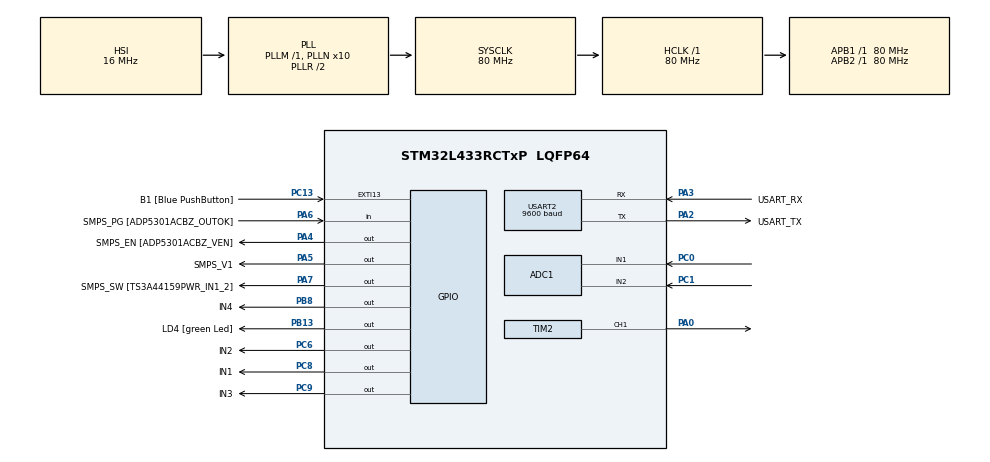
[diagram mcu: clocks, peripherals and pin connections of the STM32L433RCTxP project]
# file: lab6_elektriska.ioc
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ADC1.Channel-0\#ChannelRegularConversion=ADC_CHANNEL_1
ADC1.Channel-1\#ChannelRegularConversion=ADC_CHANNEL_2
ADC1.DiscontinuousConvMode=ENABLE
ADC1.NbrOfConversion=2
ADC1.NbrOfConversionFlag=1
ADC1.OffsetNumber-0\#ChannelRegularConversion=ADC_OFFSET_NONE
ADC1.OffsetNumber-1\#ChannelRegularConversion=ADC_OFFSET_NONE
ADC1.Overrun=ADC_OVR_DATA_OVERWRITTEN
ADC1.Rank-0\#ChannelRegularConversion=1
ADC1.Rank-1\#ChannelRegularConversion=2
ADC1.SamplingTime-0\#ChannelRegularConversion=ADC_SAMPLETIME_2CYCLES_5
ADC1.SamplingTime-1\#ChannelRegularConversion=ADC_SAMPLETIME_2CYCLES_5
ADC1.master=1
Mcu.Family=STM32L4
Mcu.Name=STM32L433RCTxP
Mcu.Package=LQFP64
NVIC.PriorityGroup=NVIC_PRIORITYGROUP_4
PA0.Signal=S_TIM2_CH1
PA13\ (JTMS-SWDIO).GPIO_Label=TMS
PA13\ (JTMS-SWDIO).Mode=Serial_Wire
PA13\ (JTMS-SWDIO).Signal=SYS_JTMS-SWDIO
PA14\ (JTCK-SWCLK).GPIO_Label=TCK
PA14\ (JTCK-SWCLK).Mode=Serial_Wire
PA14\ (JTCK-SWCLK).Signal=SYS_JTCK-SWCLK
PA2.GPIO_Label=USART_TX
PA2.GPIO_Mode=GPIO_MODE_AF_PP
PA2.GPIO_PuPd=GPIO_NOPULL
PA2.GPIO_Speed=GPIO_SPEED_FREQ_VERY_HIGH
PA2.Mode=Asynchronous
PA2.Signal=USART2_TX
PA3.GPIO_Label=USART_RX
PA3.GPIO_Mode=GPIO_MODE_AF_PP
PA3.GPIO_PuPd=GPIO_NOPULL
PA3.GPIO_Speed=GPIO_SPEED_FREQ_VERY_HIGH
PA3.Mode=Asynchronous
PA3.Signal=USART2_RX
PA4.GPIO_Label=SMPS_EN [ADP5301ACBZ_VEN]
PA4.Signal=GPIO_Output
PA5.GPIO_Label=SMPS_V1
PA5.GPIO_ModeDefaultOutputPP=GPIO_MODE_OUTPUT_PP
PA5.GPIO_PuPd=GPIO_NOPULL
PA5.GPIO_Speed=GPIO_SPEED_FREQ_LOW
PA5.Signal=GPIO_Output
PA6.GPIO_Label=SMPS_PG [ADP5301ACBZ_OUTOK]
PA6.GPIO_PuPd=GPIO_PULLUP
PA6.Signal=GPIO_Input
PA7.GPIO_Label=SMPS_SW [TS3A44159PWR_IN1_2]
PA7.Signal=GPIO_Output
PB13.GPIO_Label=LD4 [green Led]
PB13.Signal=GPIO_Output
PB3\ (JTDO-TRACESWO).GPIO_Label=SWO
PB3\ (JTDO-TRACESWO).Signal=SYS_JTDO-SWO
PB8.GPIO_Label=IN4
PB8.Signal=GPIO_Output
PC0.Signal=ADCx_IN1
PC1.Signal=ADCx_IN2
PC13.GPIO_Label=B1 [Blue PushButton]
PC13.GPIO_ModeDefaultEXTI=GPIO_MODE_IT_FALLING
PC13.GPIO_PuPd=GPIO_NOPULL
PC13.Signal=GPXTI13
PC14-OSC32_IN\ (PC14).Mode=LSE-External-Oscillator
PC14-OSC32_IN\ (PC14).Signal=RCC_OSC32_IN
PC15-OSC32_OUT\ (PC15).Mode=LSE-External-Oscillator
PC15-OSC32_OUT\ (PC15).Signal=RCC_OSC32_OUT
PC6.GPIO_Label=IN2
PC6.Signal=GPIO_Output
PC8.GPIO_Label=IN1
PC8.Signal=GPIO_Output
PC9.GPIO_Label=IN3
PC9.Signal=GPIO_Output
PH0-OSC_IN\ (PH0).GPIO_Label=MCO
PH0-OSC_IN\ (PH0).Mode=HSE-External-Clock-Source
PH0-OSC_IN\ (PH0).Signal=RCC_OSC_IN
PH1-OSC_OUT\ (PH1).Signal=RCC_OSC_OUT
ProjectManager.HeapSize=0x200
ProjectManager.StackSize=0x400
ProjectManager.TargetToolchain=STM32CubeIDE
RCC.ADCFreq_Value=64000000
RCC.AHBFreq_Value=80000000
RCC.APB1Freq_Value=80000000
RCC.APB1TimFreq_Value=80000000
RCC.APB2Freq_Value=80000000
RCC.APB2TimFreq_Value=80000000
RCC.CortexFreq_Value=80000000
RCC.HCLKFreq_Value=80000000
RCC.HSE_VALUE=8000000
RCC.HSI48_VALUE=48000000
RCC.HSI_VALUE=16000000
RCC.MSI_VALUE=4000000
RCC.PLLN=10
RCC.PLLSourceVirtual=RCC_PLLSOURCE_HSI
RCC.PREFETCH_ENABLE=1
RCC.SYSCLKFreq_VALUE=80000000
RCC.SYSCLKSource=RCC_SYSCLKSOURCE_PLLCLK
RCC.USBFreq_Value=64000000
RCC.VCOOutputFreq_Value=160000000
SH.ADCx_IN1.0=ADC1_IN1,IN1-Single-Ended
SH.ADCx_IN2.0=ADC1_IN2,IN2-Single-Ended
SH.S_TIM2_CH1.0=TIM2_CH1,PWM Generation1 CH1
TIM2.Channel-PWM\ Generation1\ CH1=TIM_CHANNEL_1
TIM2.Period=19999
TIM2.Prescaler=79
USART2.BaudRate=9600
USART2.VirtualMode-Asynchronous=VM_ASYNC
VP_TIM2_VS_ClockSourceINT.Mode=Internal
board=NUCLEO-L433RC-P

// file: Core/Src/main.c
/* USER CODE BEGIN Header */
/**
 ******************************************************************************
 * @file           : main.c
 * @brief          : Main program body
 ******************************************************************************
 * @attention
 *
 * Copyright (c) 2026 STMicroelectronics.
 * All rights reserved.
 *
 * This software is licensed under terms that can be found in the LICENSE file
 * in the root directory of this software component.
 * If no LICENSE file comes with this software, it is provided AS-IS.
 *
 ******************************************************************************
 */
/* USER CODE END Header */
#include "main.h"

/* USER CODE BEGIN Includes */
#include <string.h>
#include <stdio.h>
/* USER CODE END Includes */

ADC_HandleTypeDef hadc1;

TIM_HandleTypeDef htim2;

UART_HandleTypeDef huart2;

void SystemClock_Config(void);
static void MX_GPIO_Init(void);
static void MX_USART2_UART_Init(void);
static void MX_ADC1_Init(void);
static void MX_TIM2_Init(void);

/* USER CODE BEGIN 0 */
int8_t step_index = 0;

const uint8_t step_seq[8][4] = {
		{1, 0, 0, 0}, // Steg 1
		{1, 1, 0, 0}, // Steg 2
		{0, 1, 0, 0}, // Steg 3
		{0, 1, 1, 0}, // Steg 4
		{0, 0, 1, 0}, // Steg 5
		{0, 0, 1, 1}, // Steg 6
		{0, 0, 0, 1}, // Steg 7
		{1, 0, 0, 1}  // Steg 8
};

void StepperMove(int8_t direction) {
	if (direction > 0) {
		step_index++;
		if (step_index > 7) step_index = 0; // Börja om
	} else if (direction < 0) {
		step_index--;
		if (step_index < 0) step_index = 7; // Gå baklänges
	}

	// Sätt pinnarna
	HAL_GPIO_WritePin(IN1_GPIO_Port, IN1_Pin, step_seq[step_index][0]);
	HAL_GPIO_WritePin(IN2_GPIO_Port, IN2_Pin, step_seq[step_index][1]);
	HAL_GPIO_WritePin(IN3_GPIO_Port, IN3_Pin, step_seq[step_index][2]);
	HAL_GPIO_WritePin(IN4_GPIO_Port, IN4_Pin, step_seq[step_index][3]);
}
/* USER CODE END 0 */

int main(void)
{

	/* MCU Configuration--------------------------------------------------------*/

	/* Reset of all peripherals, Initializes the Flash interface and the Systick. */
	HAL_Init();

	/* Configure the system clock */
	SystemClock_Config();

	/* Initialize all configured peripherals */
	MX_GPIO_Init();
	MX_USART2_UART_Init();
	MX_ADC1_Init();
	MX_TIM2_Init();
	/* USER CODE BEGIN 2 */
	HAL_TIM_PWM_Start(&htim2, TIM_CHANNEL_1);

	uint32_t adc_x = 0;
	uint32_t adc_y = 0;
	char uart_buf[64];
	int print_counter = 0;
	/* USER CODE END 2 */

	/* Infinite loop */
	/* USER CODE BEGIN WHILE */
	while (1)
	{
		HAL_ADC_Start(&hadc1);
		/* USER CODE END WHILE */

		/* USER CODE BEGIN 3 */

		if (HAL_ADC_PollForConversion(&hadc1, HAL_MAX_DELAY) == HAL_OK) {
			adc_x = HAL_ADC_GetValue(&hadc1);
		}

		HAL_ADC_Start(&hadc1);
		if (HAL_ADC_PollForConversion(&hadc1, HAL_MAX_DELAY) == HAL_OK) {
			adc_y = HAL_ADC_GetValue(&hadc1);
		}
		HAL_ADC_Stop(&hadc1);

		uint32_t pwm_val = 500 + (adc_y * 2000) / 4095;
		__HAL_TIM_SET_COMPARE(&htim2, TIM_CHANNEL_1, pwm_val);

		if (adc_x > 2500) {
			StepperMove(1); // Rotera höger
		} else if (adc_x < 1500) {
			StepperMove(-1); // Rotera vänster
		} else {
			// Stäng av strömmen
			HAL_GPIO_WritePin(IN1_GPIO_Port, IN1_Pin, 0);
			HAL_GPIO_WritePin(IN2_GPIO_Port, IN2_Pin, 0);
			HAL_GPIO_WritePin(IN3_GPIO_Port, IN3_Pin, 0);
			HAL_GPIO_WritePin(IN4_GPIO_Port, IN4_Pin, 0);
		}

		print_counter++;
		if (print_counter >= 50) {
			sprintf(uart_buf, "Joy X: %lu | Joy Y: %lu | Servo PWM: %lu\r\n", adc_y, adc_x, pwm_val);
			HAL_UART_Transmit(&huart2, (uint8_t*)uart_buf, strlen(uart_buf), HAL_MAX_DELAY);
			print_counter = 0;
		}
		HAL_Delay(2);
	}
	/* USER CODE END 3 */
}

void SystemClock_Config(void)
{
	RCC_OscInitTypeDef RCC_OscInitStruct = {0};
	RCC_ClkInitTypeDef RCC_ClkInitStruct = {0};

	/** Configure the main internal regulator output voltage
	 */
	if (HAL_PWREx_ControlVoltageScaling(PWR_REGULATOR_VOLTAGE_SCALE1) != HAL_OK)
	{
		Error_Handler();
	}

	/** Initializes the RCC Oscillators according to the specified parameters
	 * in the RCC_OscInitTypeDef structure.
	 */
	RCC_OscInitStruct.OscillatorType = RCC_OSCILLATORTYPE_HSI;
	RCC_OscInitStruct.HSIState = RCC_HSI_ON;
	RCC_OscInitStruct.HSICalibrationValue = RCC_HSICALIBRATION_DEFAULT;
	RCC_OscInitStruct.PLL.PLLState = RCC_PLL_ON;
	RCC_OscInitStruct.PLL.PLLSource = RCC_PLLSOURCE_HSI;
	RCC_OscInitStruct.PLL.PLLM = 1;
	RCC_OscInitStruct.PLL.PLLN = 10;
	RCC_OscInitStruct.PLL.PLLP = RCC_PLLP_DIV7;
	RCC_OscInitStruct.PLL.PLLQ = RCC_PLLQ_DIV2;
	RCC_OscInitStruct.PLL.PLLR = RCC_PLLR_DIV2;
	if (HAL_RCC_OscConfig(&RCC_OscInitStruct) != HAL_OK)
	{
		Error_Handler();
	}

	/** Initializes the CPU, AHB and APB buses clocks
	 */
	RCC_ClkInitStruct.ClockType = RCC_CLOCKTYPE_HCLK|RCC_CLOCKTYPE_SYSCLK
			|RCC_CLOCKTYPE_PCLK1|RCC_CLOCKTYPE_PCLK2;
	RCC_ClkInitStruct.SYSCLKSource = RCC_SYSCLKSOURCE_PLLCLK;
	RCC_ClkInitStruct.AHBCLKDivider = RCC_SYSCLK_DIV1;
	RCC_ClkInitStruct.APB1CLKDivider = RCC_HCLK_DIV1;
	RCC_ClkInitStruct.APB2CLKDivider = RCC_HCLK_DIV1;

	if (HAL_RCC_ClockConfig(&RCC_ClkInitStruct, FLASH_LATENCY_4) != HAL_OK)
	{
		Error_Handler();
	}
}

static void MX_ADC1_Init(void)
{

	ADC_ChannelConfTypeDef sConfig = {0};

	/** Common config
	 */
	hadc1.Instance = ADC1;
	hadc1.Init.ClockPrescaler = ADC_CLOCK_ASYNC_DIV1;
	hadc1.Init.Resolution = ADC_RESOLUTION_12B;
	hadc1.Init.DataAlign = ADC_DATAALIGN_RIGHT;
	hadc1.Init.ScanConvMode = ADC_SCAN_ENABLE;
	hadc1.Init.EOCSelection = ADC_EOC_SINGLE_CONV;
	hadc1.Init.LowPowerAutoWait = DISABLE;
	hadc1.Init.ContinuousConvMode = DISABLE;
	hadc1.Init.NbrOfConversion = 2;
	hadc1.Init.DiscontinuousConvMode = ENABLE;
	hadc1.Init.NbrOfDiscConversion = 1;
	hadc1.Init.ExternalTrigConv = ADC_SOFTWARE_START;
	hadc1.Init.ExternalTrigConvEdge = ADC_EXTERNALTRIGCONVEDGE_NONE;
	hadc1.Init.DMAContinuousRequests = DISABLE;
	hadc1.Init.Overrun = ADC_OVR_DATA_OVERWRITTEN;
	hadc1.Init.OversamplingMode = DISABLE;
	if (HAL_ADC_Init(&hadc1) != HAL_OK)
	{
		Error_Handler();
	}

	/** Configure Regular Channel
	 */
	sConfig.Channel = ADC_CHANNEL_1;
	sConfig.Rank = ADC_REGULAR_RANK_1;
	sConfig.SamplingTime = ADC_SAMPLETIME_2CYCLES_5;
	sConfig.SingleDiff = ADC_SINGLE_ENDED;
	sConfig.OffsetNumber = ADC_OFFSET_NONE;
	sConfig.Offset = 0;
	if (HAL_ADC_ConfigChannel(&hadc1, &sConfig) != HAL_OK)
	{
		Error_Handler();
	}

	/** Configure Regular Channel
	 */
	sConfig.Channel = ADC_CHANNEL_2;
	sConfig.Rank = ADC_REGULAR_RANK_2;
	if (HAL_ADC_ConfigChannel(&hadc1, &sConfig) != HAL_OK)
	{
		Error_Handler();
	}

}

static void MX_TIM2_Init(void)
{

	TIM_ClockConfigTypeDef sClockSourceConfig = {0};
	TIM_MasterConfigTypeDef sMasterConfig = {0};
	TIM_OC_InitTypeDef sConfigOC = {0};

	htim2.Instance = TIM2;
	htim2.Init.Prescaler = 79;
	htim2.Init.CounterMode = TIM_COUNTERMODE_UP;
	htim2.Init.Period = 19999;
	htim2.Init.ClockDivision = TIM_CLOCKDIVISION_DIV1;
	htim2.Init.AutoReloadPreload = TIM_AUTORELOAD_PRELOAD_DISABLE;
	if (HAL_TIM_Base_Init(&htim2) != HAL_OK)
	{
		Error_Handler();
	}
	sClockSourceConfig.ClockSource = TIM_CLOCKSOURCE_INTERNAL;
	if (HAL_TIM_ConfigClockSource(&htim2, &sClockSourceConfig) != HAL_OK)
	{
		Error_Handler();
	}
	if (HAL_TIM_PWM_Init(&htim2) != HAL_OK)
	{
		Error_Handler();
	}
	sMasterConfig.MasterOutputTrigger = TIM_TRGO_RESET;
	sMasterConfig.MasterSlaveMode = TIM_MASTERSLAVEMODE_DISABLE;
	if (HAL_TIMEx_MasterConfigSynchronization(&htim2, &sMasterConfig) != HAL_OK)
	{
		Error_Handler();
	}
	sConfigOC.OCMode = TIM_OCMODE_PWM1;
	sConfigOC.Pulse = 0;
	sConfigOC.OCPolarity = TIM_OCPOLARITY_HIGH;
	sConfigOC.OCFastMode = TIM_OCFAST_DISABLE;
	if (HAL_TIM_PWM_ConfigChannel(&htim2, &sConfigOC, TIM_CHANNEL_1) != HAL_OK)
	{
		Error_Handler();
	}
	HAL_TIM_MspPostInit(&htim2);

}

static void MX_USART2_UART_Init(void)
{

	huart2.Instance = USART2;
	huart2.Init.BaudRate = 9600;
	huart2.Init.WordLength = UART_WORDLENGTH_8B;
	huart2.Init.StopBits = UART_STOPBITS_1;
	huart2.Init.Parity = UART_PARITY_NONE;
	huart2.Init.Mode = UART_MODE_TX_RX;
	huart2.Init.HwFlowCtl = UART_HWCONTROL_NONE;
	huart2.Init.OverSampling = UART_OVERSAMPLING_16;
	huart2.Init.OneBitSampling = UART_ONE_BIT_SAMPLE_DISABLE;
	huart2.AdvancedInit.AdvFeatureInit = UART_ADVFEATURE_NO_INIT;
	if (HAL_UART_Init(&huart2) != HAL_OK)
	{
		Error_Handler();
	}

}

static void MX_GPIO_Init(void)
{
	GPIO_InitTypeDef GPIO_InitStruct = {0};

	/* GPIO Ports Clock Enable */
	__HAL_RCC_GPIOC_CLK_ENABLE();
	__HAL_RCC_GPIOH_CLK_ENABLE();
	__HAL_RCC_GPIOA_CLK_ENABLE();
	__HAL_RCC_GPIOB_CLK_ENABLE();

	/*Configure GPIO pin Output Level */
	HAL_GPIO_WritePin(GPIOA, SMPS_EN_Pin|SMPS_V1_Pin|SMPS_SW_Pin, GPIO_PIN_RESET);

	/*Configure GPIO pin Output Level */
	HAL_GPIO_WritePin(GPIOB, LD4_Pin|IN4_Pin, GPIO_PIN_RESET);

	/*Configure GPIO pin Output Level */
	HAL_GPIO_WritePin(GPIOC, IN2_Pin|IN1_Pin|IN3_Pin, GPIO_PIN_RESET);

	/*Configure GPIO pin : B1_Pin */
	GPIO_InitStruct.Pin = B1_Pin;
	GPIO_InitStruct.Mode = GPIO_MODE_IT_FALLING;
	GPIO_InitStruct.Pull = GPIO_NOPULL;
	HAL_GPIO_Init(B1_GPIO_Port, &GPIO_InitStruct);

	/*Configure GPIO pins : SMPS_EN_Pin SMPS_V1_Pin SMPS_SW_Pin */
	GPIO_InitStruct.Pin = SMPS_EN_Pin|SMPS_V1_Pin|SMPS_SW_Pin;
	GPIO_InitStruct.Mode = GPIO_MODE_OUTPUT_PP;
	GPIO_InitStruct.Pull = GPIO_NOPULL;
	GPIO_InitStruct.Speed = GPIO_SPEED_FREQ_LOW;
	HAL_GPIO_Init(GPIOA, &GPIO_InitStruct);

	/*Configure GPIO pin : SMPS_PG_Pin */
	GPIO_InitStruct.Pin = SMPS_PG_Pin;
	GPIO_InitStruct.Mode = GPIO_MODE_INPUT;
	GPIO_InitStruct.Pull = GPIO_PULLUP;
	HAL_GPIO_Init(SMPS_PG_GPIO_Port, &GPIO_InitStruct);

	/*Configure GPIO pins : LD4_Pin IN4_Pin */
	GPIO_InitStruct.Pin = LD4_Pin|IN4_Pin;
	GPIO_InitStruct.Mode = GPIO_MODE_OUTPUT_PP;
	GPIO_InitStruct.Pull = GPIO_NOPULL;
	GPIO_InitStruct.Speed = GPIO_SPEED_FREQ_LOW;
	HAL_GPIO_Init(GPIOB, &GPIO_InitStruct);

	/*Configure GPIO pins : IN2_Pin IN1_Pin IN3_Pin */
	GPIO_InitStruct.Pin = IN2_Pin|IN1_Pin|IN3_Pin;
	GPIO_InitStruct.Mode = GPIO_MODE_OUTPUT_PP;
	GPIO_InitStruct.Pull = GPIO_NOPULL;
	GPIO_InitStruct.Speed = GPIO_SPEED_FREQ_LOW;
	HAL_GPIO_Init(GPIOC, &GPIO_InitStruct);

}

void Error_Handler(void)
{
	__disable_irq();
	while (1)
	{
	}
}
